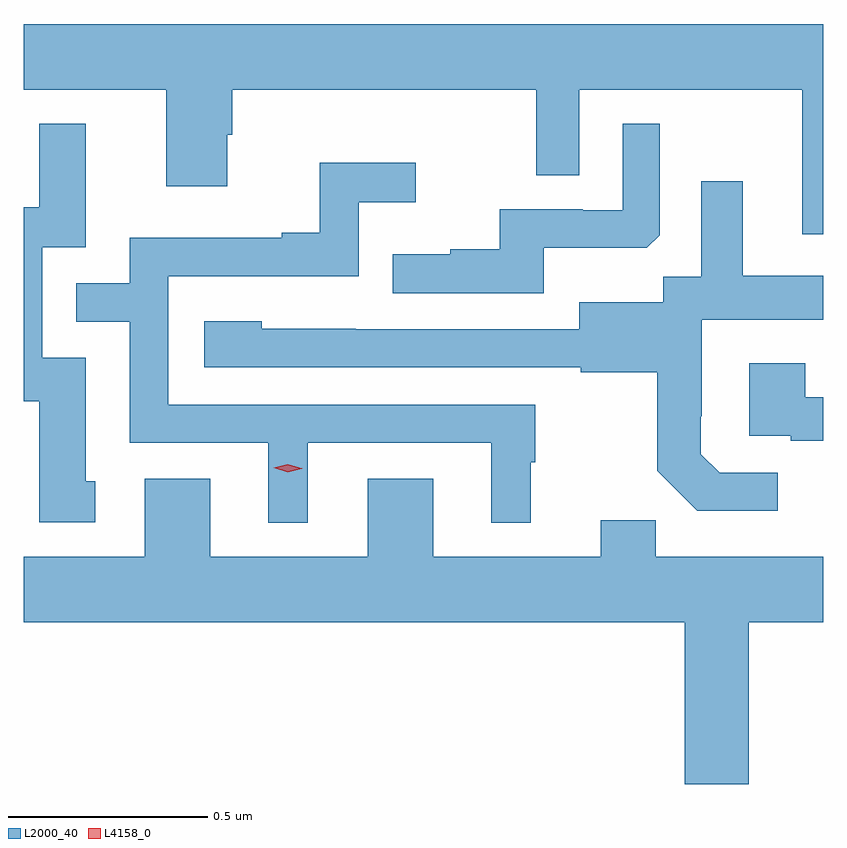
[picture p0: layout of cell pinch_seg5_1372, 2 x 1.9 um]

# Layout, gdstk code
import gdstk
lib = gdstk.Library(unit=1e-6, precision=1e-09)
def P(c, l, *ps):  # polygons
    for p in ps: c.add(gdstk.Polygon(p, *l))
L2000_40 = (2000, 40)
L4158_0 = (4158, 0)

pinch_seg5_1372 = lib.new_cell('pinch_seg5_1372')
P(pinch_seg5_1372, L2000_40, [(329.116,888.892),(327.116,888.892),(327.116,888.728),(327.473,888.728),(327.473,888.486),(327.625,888.486),(327.625,888.615),(327.638,888.615),(327.638,888.728),(328.398,888.728),(328.398,888.514),(328.506,888.514),(328.506,888.728),(329.063,888.728),(329.063,888.366),(329.116,888.366)],
  [(328.417,888.332),(328.675,888.332),(328.707,888.363),(328.707,888.643),(328.614,888.643),(328.614,888.426),(328.514,888.426),(328.514,888.429),(328.307,888.429),(328.307,888.328),(328.183,888.328),(328.183,888.316),(328.039,888.316),(328.039,888.219),(328.417,888.219)],
  [(327.295,887.748),(327.271,887.748),(327.271,888.057),(327.162,888.057),(327.162,888.333),(327.271,888.333),(327.271,888.643),(327.155,888.643),(327.155,888.434),(327.116,888.434),(327.116,887.949),(327.155,887.949),(327.155,887.646),(327.295,887.646)],
  [(327.826,887.844),(328.286,887.844),(328.286,887.645),(328.384,887.645),(328.384,887.796),(328.396,887.796),(328.396,887.94),(327.477,887.94),(327.477,888.261),(327.954,888.261),(327.954,888.446),(328.096,888.446),(328.096,888.545),(327.856,888.545),(327.856,888.37),(327.761,888.37),(327.761,888.357),(327.381,888.357),(327.381,888.243),(327.247,888.243),(327.247,888.147),(327.381,888.147),(327.381,887.844),(327.728,887.844),(327.728,887.645),(327.826,887.645)],
  [(329.002,887.769),(328.857,887.769),(328.81,887.816),(328.81,887.911),(328.812,887.911),(328.812,888.152),(329.116,888.152),(329.116,888.262),(328.915,888.262),(328.915,888.499),(328.811,888.499),(328.811,888.26),(328.716,888.26),(328.716,888.196),(328.505,888.196),(328.505,888.129),(327.947,888.129),(327.947,888.13),(327.711,888.13),(327.711,888.148),(327.567,888.148),(327.567,888.033),(328.509,888.033),(328.509,888.021),(328.701,888.021),(328.701,887.775),(328.801,887.675),(329.002,887.675)],
  [(329.116,887.958),(329.071,887.958),(329.071,888.043),(328.931,888.043),(328.931,887.862),(329.035,887.862),(329.035,887.85),(329.116,887.85)],
  [(328.929,887.396),(329.116,887.396),(329.116,887.56),(328.697,887.56),(328.697,887.651),(328.559,887.651),(328.559,887.56),(328.141,887.56),(328.141,887.755),(327.977,887.755),(327.977,887.56),(327.583,887.56),(327.583,887.755),(327.419,887.755),(327.419,887.56),(327.116,887.56),(327.116,887.396),(328.769,887.396),(328.769,886.991),(328.929,886.991)])
P(pinch_seg5_1372, L4158_0, [(327.777,887.771),(327.742,887.782),(327.741,887.782),(327.742,887.782),(327.777,887.791),(327.812,887.781),(327.813,887.781),(327.812,887.78)])

lib.write_gds('pinch_seg5_1372.gds')
